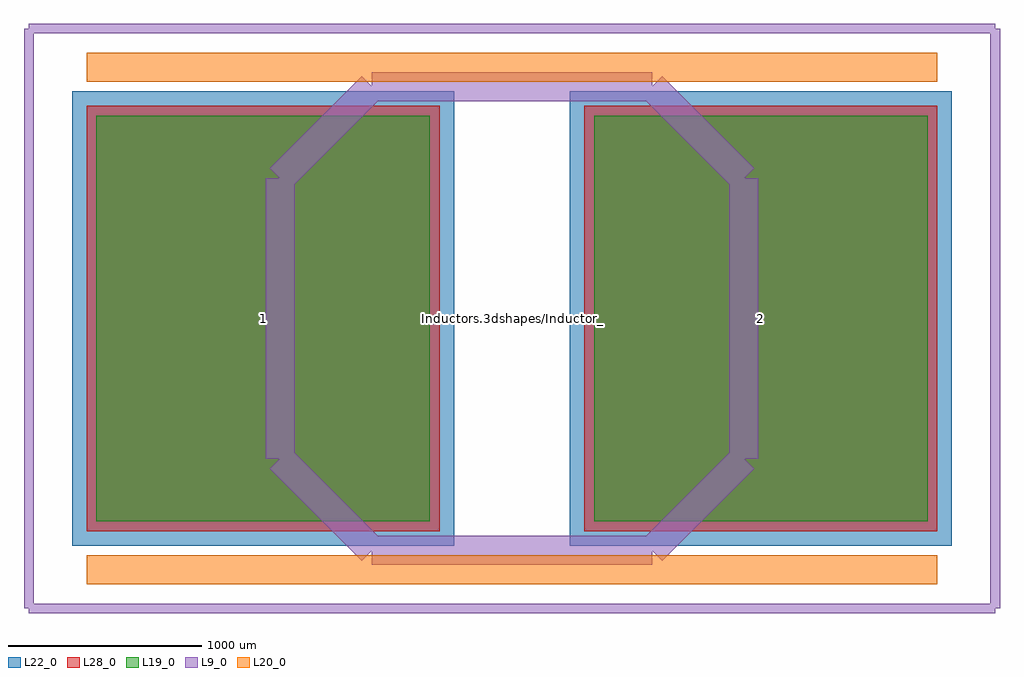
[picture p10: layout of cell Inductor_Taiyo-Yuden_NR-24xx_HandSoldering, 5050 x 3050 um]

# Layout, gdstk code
import gdstk
lib = gdstk.Library(unit=1e-6, precision=1e-09)
def R(c, l, rs):  # rectangles x0, y0, x1, y1
    for r in rs: c.add(gdstk.rectangle(r[:2], r[2:], *l))
L9_0 = (9, 0)
L19_0 = (19, 0)
L20_0 = (20, 0)
L22_0 = (22, 0)
L28_0 = (28, 0)

inductor_taiyo_yuden_nr_ = lib.new_cell('Inductor_Taiyo-Yuden_NR-24xx_HandSoldering')
R(inductor_taiyo_yuden_nr_, L19_0, [(-2150,-1050,-425,1050), (425,-1050,2150,1050)])
R(inductor_taiyo_yuden_nr_, L22_0, [(-2275,-1175,-300,1175), (300,-1175,2275,1175)])
R(inductor_taiyo_yuden_nr_, L28_0, [(-2200,-1100,-375,1100), (375,-1100,2200,1100)])
inductor_taiyo_yuden_nr_.add(gdstk.FlexPath([(2500,1500),(-2500,1500)], 50, ends="flush", simple_path=True, layer=9, datatype=0))  # L9_0
inductor_taiyo_yuden_nr_.add(gdstk.FlexPath([(2500,-1500),(2500,1500)], 50, ends="flush", simple_path=True, layer=9, datatype=0))  # L9_0
inductor_taiyo_yuden_nr_.add(gdstk.FlexPath([(-2500,-1500),(2500,-1500)], 50, ends="flush", simple_path=True, layer=9, datatype=0))  # L9_0
inductor_taiyo_yuden_nr_.add(gdstk.FlexPath([(-2500,1500),(-2500,-1500)], 50, ends="flush", simple_path=True, layer=9, datatype=0))  # L9_0
inductor_taiyo_yuden_nr_.add(gdstk.FlexPath([(-2200,-1300),(2200,-1300)], 149.998, ends="flush", simple_path=True, layer=20, datatype=0))  # L20_0
inductor_taiyo_yuden_nr_.add(gdstk.FlexPath([(-2200,1300),(2200,1300)], 149.998, ends="flush", simple_path=True, layer=20, datatype=0))  # L20_0
inductor_taiyo_yuden_nr_.add(gdstk.FlexPath([(-725,-1200),(0,-1200)], 149.998, ends="flush", simple_path=True, layer=9, datatype=0))  # L9_0
inductor_taiyo_yuden_nr_.add(gdstk.FlexPath([(-1200,-725),(-725,-1200)], 149.998, ends="flush", simple_path=True, layer=9, datatype=0))  # L9_0
inductor_taiyo_yuden_nr_.add(gdstk.FlexPath([(-1200,0),(-1200,-725)], 149.998, ends="flush", simple_path=True, layer=9, datatype=0))  # L9_0
inductor_taiyo_yuden_nr_.add(gdstk.FlexPath([(725,-1200),(0,-1200)], 149.998, ends="flush", simple_path=True, layer=9, datatype=0))  # L9_0
inductor_taiyo_yuden_nr_.add(gdstk.FlexPath([(1200,-725),(725,-1200)], 149.998, ends="flush", simple_path=True, layer=9, datatype=0))  # L9_0
inductor_taiyo_yuden_nr_.add(gdstk.FlexPath([(1200,0),(1200,-725)], 149.998, ends="flush", simple_path=True, layer=9, datatype=0))  # L9_0
inductor_taiyo_yuden_nr_.add(gdstk.FlexPath([(725,1200),(0,1200)], 149.998, ends="flush", simple_path=True, layer=9, datatype=0))  # L9_0
inductor_taiyo_yuden_nr_.add(gdstk.FlexPath([(1200,725),(725,1200)], 149.998, ends="flush", simple_path=True, layer=9, datatype=0))  # L9_0
inductor_taiyo_yuden_nr_.add(gdstk.FlexPath([(1200,0),(1200,725)], 149.998, ends="flush", simple_path=True, layer=9, datatype=0))  # L9_0
inductor_taiyo_yuden_nr_.add(gdstk.FlexPath([(-725,1200),(0,1200)], 149.998, ends="flush", simple_path=True, layer=9, datatype=0))  # L9_0
inductor_taiyo_yuden_nr_.add(gdstk.FlexPath([(-1200,725),(-725,1200)], 149.998, ends="flush", simple_path=True, layer=9, datatype=0))  # L9_0
inductor_taiyo_yuden_nr_.add(gdstk.FlexPath([(-1200,0),(-1200,725)], 149.998, ends="flush", simple_path=True, layer=9, datatype=0))  # L9_0
inductor_taiyo_yuden_nr_.add(gdstk.Label('Inductors.3dshapes/Inductor_Taiyo-Yuden_NR-24xx.wrl', (0,0), layer=12, texttype=0))
inductor_taiyo_yuden_nr_.add(gdstk.Label('2', (1287.5,0), layer=28, texttype=0))
inductor_taiyo_yuden_nr_.add(gdstk.Label('1', (-1287.5,0), layer=28, texttype=0))
inductor_taiyo_yuden_nr_.add(gdstk.Label('type', (0,-2700), layer=9, texttype=0))
inductor_taiyo_yuden_nr_.add(gdstk.Label('devicename', (0,2200), layer=9, texttype=0))

lib.write_gds('Inductor_Taiyo-Yuden_NR-24xx_HandSoldering.gds')
